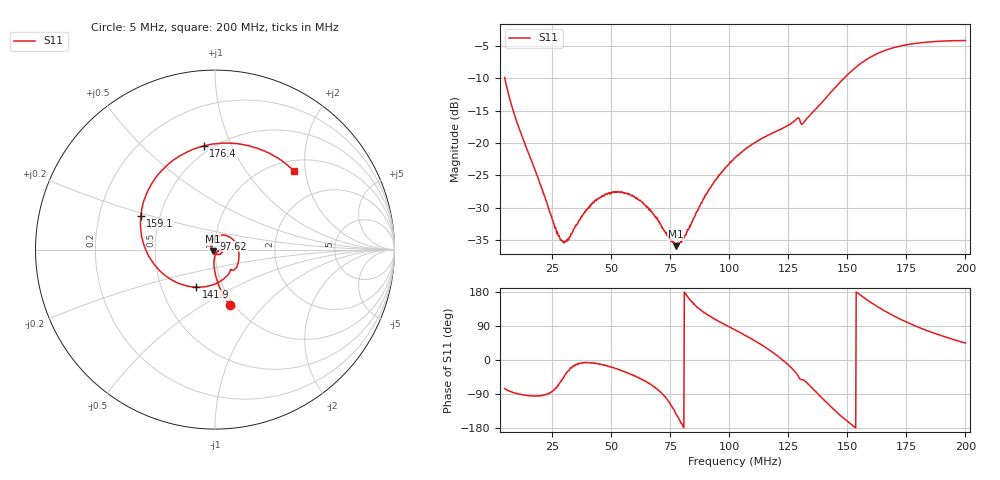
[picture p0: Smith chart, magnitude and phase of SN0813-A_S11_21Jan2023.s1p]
# Hz S DB R 50
! CMT, M5045, 22160017, 22.4.3/2
! Date: 1/21/2023 19:42:58
! Data: Format (Calibration Info)
! Freq	S11:dB/Ang(F1)
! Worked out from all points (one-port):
!   1001 points, 5 MHz to 200 MHz, reference 50 ohm
!   lowest |S11| = -36.0 dB at 77.34 MHz (marker M1), VSWR 1.03, Z = 48.8 - j1.01 ohm
!   |S11| at or under -10 dB: 5.083 MHz to 148.6 MHz (143.5 MHz wide, 187 % of centre)
!   S11 on the Smith chart (normalised r, x): 5 MHz: 0.96, -0.66; 97.62 MHz: 0.98, +0.12; 141.9 MHz: 0.75, -0.33; 159.1 MHz: 0.39, +0.18; 176.4 MHz: 0.45, +0.79; 200 MHz: 1.22, +1.74
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5000000  -9.86 -75.1
8510000  -14.87 -85.5
1.2995e7  -19.57 -92.4
2.6645e7  -33.19 -73.4
2.9375e7  -35.17 -51.9
3.191e7  -34.80 -29.0
4.2635e7  -29.25 -7.7
5.375e7  -27.61 -26.3
6.3305e7  -29.18 -51.3
7.7345e7  -35.98 -139.5
7.8125e7  -35.60 -149.1
8.0855e7  -34.64 -178.4
9.041e7  -27.89 121.3
9.7625e7  -24.19 94.8
1.025e8  -22.31 79.7
1.1537e8  -19.02 33.1
1.26875e8  -16.81 -23.8
1.31555e8  -16.86 -52.9
1.3604e8  -14.99 -79.4
1.4189e8  -12.64 -116.3
1.4657e8  -10.72 -143.3
1.5125e8  -9.05 -167.9
1.5905e8  -6.87 155.8
1.6763e8  -5.48 123.3
1.75625e8  -4.77 98.4
1.76405e8  -4.71 96.3
1.8635e8  -4.30 71.7
2e8  -4.13 44.8
